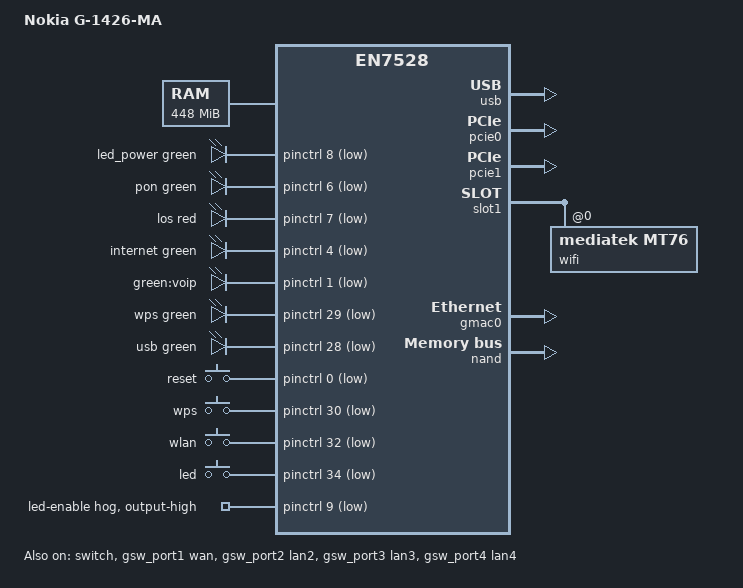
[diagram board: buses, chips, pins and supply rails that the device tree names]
// SPDX-License-Identifier: (GPL-2.0-only OR BSD-2-Clause)
/*
 * Nokia G-1426-MA (EcoNet EN7528DU, MIPS 1004Kc x4 LE, 512 MiB DDR3,
 * 256 MiB Micron MT29F2G01 SPI NAND, MT7915 DBDC Wi-Fi 6, 4x GE).
 * Values taken from the stock firmware: /usr/hwconfig/G1426MA/hcfg.conf,
 * /proc/mtd and the bootloader log of this unit.
 *
 * Dual image: bank A = 0x80000 (OpenWrt), bank B = 0x2300000 (stock),
 * selected by the "flag" partition.
 */
/dts-v1/;

#include "en7528.dtsi"

#include <dt-bindings/gpio/gpio.h>
#include <dt-bindings/input/input.h>
#include <dt-bindings/leds/common.h>

/ {
	model = "Nokia G-1426-MA";
	compatible = "nokia,g1426ma", "econet,en7528";

	aliases {
		led-boot = &led_power;
		led-failsafe = &led_power;
		led-running = &led_power;
		led-upgrade = &led_power;
		label-mac-device = &gmac0;
	};

	/* 512 MiB fitted, stock uses 448 MiB (0x1c000000 and up is I/O space) */
	memory@0 {
		device_type = "memory";
		reg = <0x00000000 0x1c000000>;
	};

	chosen {
		stdout-path = "/serial@1fbf0000:115200";
		bootargs = "console=ttyS0,115200 loglevel=8 ubi.mtd=ubi ubi.mtd=openwrt_data";
		linux,usable-memory-range = <0x00020000 0x1bfe0000>;
	};

	leds {
		compatible = "gpio-leds";

		led_power: power {
			color = <LED_COLOR_ID_GREEN>;
			function = LED_FUNCTION_POWER;
			gpios = <&pinctrl 8 GPIO_ACTIVE_LOW>;
			default-state = "on";
		};

		pon {
			color = <LED_COLOR_ID_GREEN>;
			function = LED_FUNCTION_STATUS;
			function-enumerator = <1>;
			gpios = <&pinctrl 6 GPIO_ACTIVE_LOW>;
		};

		los {
			color = <LED_COLOR_ID_RED>;
			function = LED_FUNCTION_STATUS;
			function-enumerator = <2>;
			gpios = <&pinctrl 7 GPIO_ACTIVE_LOW>;
		};

		internet {
			color = <LED_COLOR_ID_GREEN>;
			function = LED_FUNCTION_WAN;
			gpios = <&pinctrl 4 GPIO_ACTIVE_LOW>;
		};

		voip {
			label = "green:voip";
			gpios = <&pinctrl 1 GPIO_ACTIVE_LOW>;
		};

		wps {
			color = <LED_COLOR_ID_GREEN>;
			function = LED_FUNCTION_WPS;
			gpios = <&pinctrl 29 GPIO_ACTIVE_LOW>;
		};

		usb {
			color = <LED_COLOR_ID_GREEN>;
			function = LED_FUNCTION_USB;
			gpios = <&pinctrl 28 GPIO_ACTIVE_LOW>;
			trigger-sources = <&xhci_port1>;
			linux,default-trigger = "usbport";
		};
	};

	keys {
		compatible = "gpio-keys";

		key-reset {
			label = "reset";
			gpios = <&pinctrl 0 GPIO_ACTIVE_LOW>;
			linux,code = <KEY_RESTART>;
		};
	};

	/* only GPIO0-GPIO15 can raise an interrupt, poll the rest */
	keys-polled {
		compatible = "gpio-keys-polled";
		poll-interval = <100>;

		key-wps {
			label = "wps";
			gpios = <&pinctrl 30 GPIO_ACTIVE_LOW>;
			linux,code = <KEY_WPS_BUTTON>;
		};

		key-wlan {
			label = "wlan";
			gpios = <&pinctrl 32 GPIO_ACTIVE_LOW>;
			linux,code = <KEY_RFKILL>;
		};

		key-led {
			label = "led";
			gpios = <&pinctrl 34 GPIO_ACTIVE_LOW>;
			linux,code = <KEY_LIGHTS_TOGGLE>;
		};
	};
};

&pinctrl {
	/* hcfg Led.Enable: master LED enable, active low */
	led-enable-hog {
		gpio-hog;
		gpios = <9 GPIO_ACTIVE_LOW>;
		output-high;
		line-name = "led-enable";
	};

	gswp1_led_pins: gswp1-led-pins {
		mux {
			function = "phy1_led1";
			groups = "gpio37";
		};
	};

	gswp2_led_pins: gswp2-led-pins {
		mux {
			function = "phy2_led1";
			groups = "gpio35";
		};
	};

	gswp3_led_pins: gswp3-led-pins {
		mux {
			function = "phy3_led1";
			groups = "gpio33";
		};
	};

	gswp4_led_pins: gswp4-led-pins {
		mux {
			function = "phy4_led1";
			groups = "gpio31";
		};
	};
};

&usb {
	status = "okay";
	#address-cells = <1>;
	#size-cells = <0>;

	xhci_port1: port@1 {
		reg = <1>;
		#trigger-source-cells = <0>;
	};
};

/*
 * MT7915 DBDC: main function on pcie1, its second PCIe interface (hif2,
 * 14c3:7916) on pcie0, as the stock firmware uses them. mt76 binds hif2 by
 * itself and moves band 1 DMA to it. pcie0 is Gen1 only (max-link-speed in
 * en7528.dtsi): retraining it to Gen2 drops the link and resets hif2.
 */

&pcie0 {
	status = "okay";
};

&pcie1 {
	status = "okay";
};

&slot1 {
	status = "okay";

	wifi@0,0 {
		compatible = "mediatek,mt76";
		reg = <0x0000 0 0 0 0>;
		nvmem-cells = <&eeprom_factory_0>;
		nvmem-cell-names = "eeprom";
		#address-cells = <1>;
		#size-cells = <0>;

		band@0 {
			/* 2.4 GHz */
			reg = <0>;
			nvmem-cells = <&macaddr_ri 2>;
			nvmem-cell-names = "mac-address";
		};

		band@1 {
			/* 5 GHz */
			reg = <1>;
			nvmem-cells = <&macaddr_ri 3>;
			nvmem-cell-names = "mac-address";
		};
	};
};

&gmac0 {
	status = "okay";
	nvmem-cells = <&macaddr_ri 0>;
	nvmem-cell-names = "mac-address";
};

&switch {
	status = "okay";
};

/* stock lan_port_map: LAN1..LAN4 = switch ports 1..4 */
&gsw_port1 {
	status = "okay";
	label = "wan";
	nvmem-cells = <&macaddr_ri 8>;
	nvmem-cell-names = "mac-address";
};

&gsw_port2 {
	status = "okay";
	label = "lan2";
};

&gsw_port3 {
	status = "okay";
	label = "lan3";
};

&gsw_port4 {
	status = "okay";
	label = "lan4";
};

&gsw_phy1 {
	pinctrl-names = "gbe-led";
	pinctrl-0 = <&gswp1_led_pins>;
};

&gsw_phy2 {
	pinctrl-names = "gbe-led";
	pinctrl-0 = <&gswp2_led_pins>;
};

&gsw_phy3 {
	pinctrl-names = "gbe-led";
	pinctrl-0 = <&gswp3_led_pins>;
};

&gsw_phy4 {
	pinctrl-names = "gbe-led";
	pinctrl-0 = <&gswp4_led_pins>;
};

&nand {
	status = "okay";
	econet,bmt;
	econet,bbt-table-size = <250>;
	/* bootloader: "bmt pool size: 143" = 7% of 2048 blocks */
	econet,pool-good-block-percent = <7>;
	econet,assert-reserve-size = <143>;

	partitions {
		compatible = "fixed-partitions";
		#address-cells = <1>;
		#size-cells = <1>;

		partition@0 {
			label = "bootloader";
			reg = <0x0 0x40000>;
			read-only;
		};

		partition@40000 {
			label = "romfile";
			reg = <0x40000 0x40000>;
			read-only;
		};

		/* bank A: HDR3 + kernel padded to 4 MiB, then UBI */
		partition@80000 {
			label = "tclinux";
			reg = <0x80000 0x2280000>;
		};

		partition1@80000 {
			label = "kernel";
			reg = <0x80000 0x400000>;
		};

		partition1@480000 {
			label = "ubi";
			reg = <0x480000 0x1e40000>;
		};

		/*
		 * Copy of this unit's MT7915 calibration (stock keeps it as a
		 * file, /configs/mtk7612/RT30xxEEPROM.bin), copied on first boot.
		 */
		partition1@22c0000 {
			label = "factory";
			reg = <0x22c0000 0x40000>;

			nvmem-layout {
				compatible = "fixed-layout";
				#address-cells = <1>;
				#size-cells = <1>;

				eeprom_factory_0: eeprom@0 {
					reg = <0x0 0xe00>;
				};
			};
		};

		/* bank B: stock firmware */
		partition@2300000 {
			label = "tclinux_slave";
			reg = <0x2300000 0x2280000>;
			read-only;
		};

		partition@4580000 {
			label = "bosa";
			reg = <0x4580000 0x40000>;
			read-only;
		};

		partition@45c0000 {
			label = "ri";
			reg = <0x45c0000 0x40000>;
			read-only;

			nvmem-layout {
				compatible = "fixed-layout";
				#address-cells = <1>;
				#size-cells = <1>;

				macaddr_ri: macaddr@3e {
					compatible = "mac-base";
					reg = <0x3e 0x6>;
					#nvmem-cell-cells = <1>;
				};
			};
		};

		partition@4600000 {
			label = "flag";
			reg = <0x4600000 0x40000>;
		};

		partition@4640000 {
			label = "flagback";
			reg = <0x4640000 0x40000>;
		};

		partition@4680000 {
			label = "config";
			reg = <0x4680000 0xa00000>;
			read-only;
		};

		/*
		 * Former stock /data: UBI volume 0 "data" stays for the stock
		 * firmware, volume 1 is the OpenWrt overlay (rootfs_data).
		 */
		partition@5080000 {
			label = "openwrt_data";
			reg = <0x5080000 0x8000000>;
		};

		partition@d080000 {
			label = "oopsfs";
			reg = <0xd080000 0x600000>;
			read-only;
		};

		partition@d680000 {
			label = "log";
			reg = <0xd680000 0xa00000>;
			read-only;
		};
	};
};
